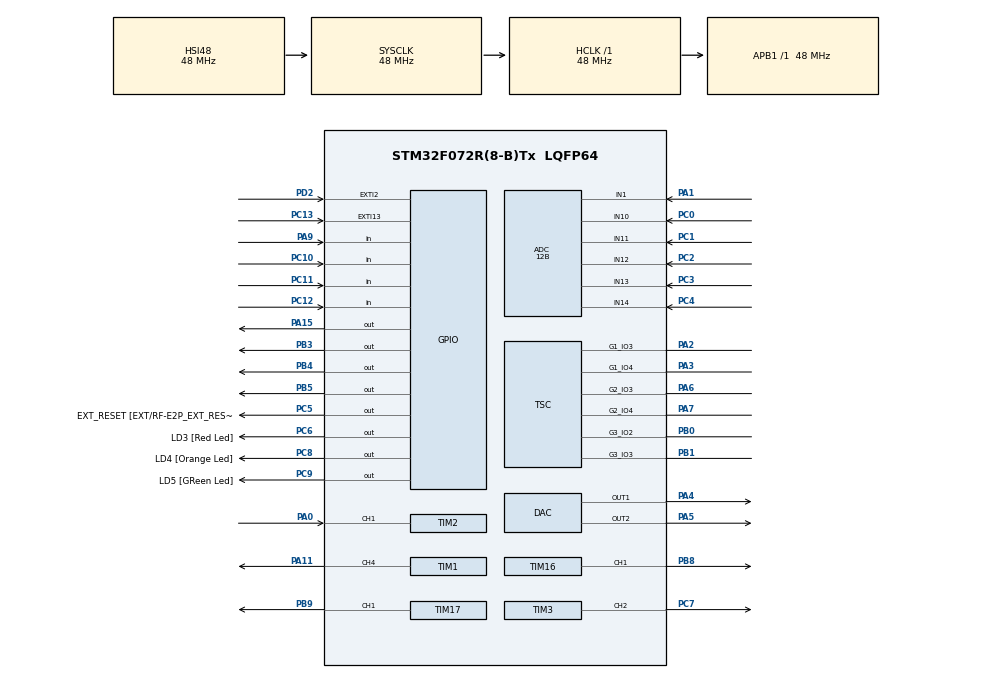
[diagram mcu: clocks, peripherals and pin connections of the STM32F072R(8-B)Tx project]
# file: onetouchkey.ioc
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ADC.ClockPrescaler=ADC_CLOCK_ASYNC_DIV1
ADC.ContinuousConvMode=ENABLE
ADC.DMAContinuousRequests=ENABLE
ADC.DataAlign=ADC_DATAALIGN_RIGHT
ADC.DiscontinuousConvMode=DISABLE
ADC.EOCSelection=ADC_EOC_SEQ_CONV
ADC.EnableAnalogWatchDog=false
ADC.ExternalTrigConv=ADC_SOFTWARE_START
ADC.ExternalTrigConvEdge=ADC_EXTERNALTRIGCONVEDGE_NONE
ADC.LowPowerAutoPowerOff=DISABLE
ADC.LowPowerAutoWait=DISABLE
ADC.Overrun=ADC_OVR_DATA_PRESERVED
ADC.Resolution=ADC_RESOLUTION_12B
ADC.SamplingTime=ADC_SAMPLETIME_71CYCLES_5
ADC.ScanConvMode=ADC_SCAN_DIRECTION_FORWARD
DAC.DAC_Trigger=DAC_TRIGGER_T6_TRGO
DAC.DAC_Trigger2=DAC_TRIGGER_T6_TRGO
Dma.ADC.2.Direction=DMA_PERIPH_TO_MEMORY
Dma.ADC.2.Instance=DMA1_Channel1
Dma.ADC.2.MemDataAlignment=DMA_MDATAALIGN_WORD
Dma.ADC.2.MemInc=DMA_MINC_ENABLE
Dma.ADC.2.Mode=DMA_CIRCULAR
Dma.ADC.2.PeriphDataAlignment=DMA_PDATAALIGN_WORD
Dma.ADC.2.PeriphInc=DMA_PINC_DISABLE
Dma.ADC.2.Priority=DMA_PRIORITY_MEDIUM
Dma.DAC_CH1.0.Direction=DMA_MEMORY_TO_PERIPH
Dma.DAC_CH1.0.Instance=DMA1_Channel3
Dma.DAC_CH1.0.MemDataAlignment=DMA_MDATAALIGN_HALFWORD
Dma.DAC_CH1.0.MemInc=DMA_MINC_ENABLE
Dma.DAC_CH1.0.Mode=DMA_CIRCULAR
Dma.DAC_CH1.0.PeriphDataAlignment=DMA_PDATAALIGN_HALFWORD
Dma.DAC_CH1.0.PeriphInc=DMA_PINC_DISABLE
Dma.DAC_CH1.0.Priority=DMA_PRIORITY_VERY_HIGH
Dma.DAC_CH2.1.Direction=DMA_MEMORY_TO_PERIPH
Dma.DAC_CH2.1.Instance=DMA1_Channel4
Dma.DAC_CH2.1.MemDataAlignment=DMA_MDATAALIGN_HALFWORD
Dma.DAC_CH2.1.MemInc=DMA_MINC_ENABLE
Dma.DAC_CH2.1.Mode=DMA_CIRCULAR
Dma.DAC_CH2.1.PeriphDataAlignment=DMA_PDATAALIGN_HALFWORD
Dma.DAC_CH2.1.PeriphInc=DMA_PINC_DISABLE
Dma.DAC_CH2.1.Priority=DMA_PRIORITY_VERY_HIGH
Dma.Request0=DAC_CH1
Dma.Request1=DAC_CH2
Dma.Request2=ADC
Mcu.Family=STM32F0
Mcu.Name=STM32F072R(8-B)Tx
Mcu.Package=LQFP64
NVIC.DMA1_Channel1_IRQn=true\:2\:0\:true\:false\:true
NVIC.DMA1_Channel2_3_IRQn=true\:0\:0\:true\:false\:true
NVIC.DMA1_Channel4_5_6_7_IRQn=true\:0\:0\:true\:false\:true
NVIC.EXTI2_3_IRQn=true\:0\:0\:false\:false\:true
NVIC.EXTI4_15_IRQn=true\:1\:0\:true\:false\:true
NVIC.TIM2_IRQn=true\:0\:0\:false\:false\:true
NVIC.TIM6_DAC_IRQn=true\:0\:0\:false\:false\:true
PA0.Signal=S_TIM2_CH1_ETR
PA1.Mode=IN1
PA1.Signal=ADC_IN1
PA11.Signal=S_TIM1_CH4
PA12.GPIO_Label=USBF4_DP
PA12.Signal=USB_DP
PA13.GPIO_Label=SWDIO
PA13.Signal=SYS_SWDIO
PA14.GPIO_Label=SWCLK
PA14.Signal=SYS_SWCLK
PA15.Signal=GPIO_Output
PA2.Mode=G1_IO3-Channel
PA2.Signal=TSC_G1_IO3
PA3.Mode=G1_IO4-Sampling
PA3.Signal=TSC_G1_IO4
PA4.Signal=COMP_DAC1_group
PA5.Signal=COMP_DAC2_group
PA6.Mode=G2_IO3-Channel
PA6.Signal=TSC_G2_IO3
PA7.Mode=G2_IO4-Sampling
PA7.Signal=TSC_G2_IO4
PA9.GPIO_PuPd=GPIO_PULLUP
PA9.Signal=GPIO_Input
PB0.Mode=G3_IO2-Channel
PB0.Signal=TSC_G3_IO2
PB1.Mode=G3_IO3-Sampling
PB1.Signal=TSC_G3_IO3
PB10.GPIO_Label=I2C2_SCL[EXT/RF-E2P_SCL]
PB10.Signal=I2C2_SCL
PB11.GPIO_Label=I2C2_SDA[EXT/RF-E2P_SDA]
PB11.Signal=I2C2_SDA
PB13.GPIO_Label=SPI2_SCK [L3GD20_SCL/SPC]
PB13.Signal=SPI2_SCK
PB14.GPIO_Label=SPI2_MISO [L3GD20_SDO]
PB14.Signal=SPI2_MISO
PB15.GPIO_Label=SPI2_MOSI [L3GD20_SDA/SDI]
PB15.Signal=SPI2_MOSI
PB3.Signal=GPIO_Output
PB4.Signal=GPIO_Output
PB5.Signal=GPIO_Output
PB8.Signal=S_TIM16_CH1
PB9.Signal=S_TIM17_CH1
PC0.Mode=IN10
PC0.Signal=ADC_IN10
PC1.Mode=IN11
PC1.Signal=ADC_IN11
PC10.GPIO_PuPd=GPIO_PULLUP
PC10.Signal=GPIO_Input
PC11.GPIO_PuPd=GPIO_PULLUP
PC11.Signal=GPIO_Input
PC12.GPIO_PuPd=GPIO_PULLUP
PC12.Signal=GPIO_Input
PC13.Signal=GPXTI13
PC2.Mode=IN12
PC2.Signal=ADC_IN12
PC3.Mode=IN13
PC3.Signal=ADC_IN13
PC4.Mode=IN14
PC4.Signal=ADC_IN14
PC5.GPIO_Label=EXT_RESET [EXT/RF-E2P_EXT_RESET]
PC5.Signal=GPIO_Output
PC6.GPIO_Label=LD3 [Red Led]
PC6.Signal=GPIO_Output
PC7.Signal=S_TIM3_CH2
PC8.GPIO_Label=LD4 [Orange Led]
PC8.Signal=GPIO_Output
PC9.GPIO_Label=LD5 [GReen Led]
PC9.Signal=GPIO_Output
PD2.GPIO_ModeDefaultEXTI=GPIO_MODE_IT_FALLING
PD2.Signal=GPXTI2
PF0-OSC_IN.Mode=HSE-External-Oscillator
PF0-OSC_IN.Signal=RCC_OSC_IN
PF1-OSC_OUT.Mode=HSE-External-Oscillator
PF1-OSC_OUT.Signal=RCC_OSC_OUT
ProjectManager.HeapSize=0x200
ProjectManager.StackSize=0x400
ProjectManager.TargetToolchain=SW4STM32
RCC.AHBFreq_Value=48000000
RCC.APB1Freq_Value=48000000
RCC.APB1TimFreq_Value=48000000
RCC.HCLKFreq_Value=48000000
RCC.HSE_VALUE=16000000
RCC.PLLMUL=RCC_PLL_MUL6
RCC.SYSCLKFreq_VALUE=48000000
RCC.SYSCLKSource=RCC_SYSCLKSOURCE_HSI48
SH.COMP_DAC1_group.0=DAC_OUT1,DAC_OUT1
SH.COMP_DAC2_group.0=DAC_OUT2,DAC_OUT2
SH.S_TIM16_CH1.0=TIM16_CH1,PWM Generation1 CH1
SH.S_TIM17_CH1.0=TIM17_CH1,PWM Generation1 CH1
SH.S_TIM1_CH4.0=TIM1_CH4,PWM Generation4 CH4
SH.S_TIM2_CH1_ETR.0=TIM2_CH1,Input_Capture1_from_TI1
SH.S_TIM3_CH2.0=TIM3_CH2,PWM Generation2 CH2
TIM1.Channel-PWM\ Generation4\ CH4=TIM_CHANNEL_4
TIM1.Period=4096
TIM1.Prescaler=10-1
TIM16.Channel=TIM_CHANNEL_1
TIM16.Period=4096
TIM16.Prescaler=1
TIM17.Channel=TIM_CHANNEL_1
TIM17.Period=4096
TIM17.Prescaler=10-1
TIM2.Channel-Input_Capture1_from_TI1=TIM_CHANNEL_1
TIM2.TIM_MasterOutputTrigger=TIM_TRGO_ENABLE
TIM3.Channel-PWM\ Generation2\ CH2=TIM_CHANNEL_2
TIM3.Period=4096
TIM3.Prescaler=10-1
TIM3.TIM_MasterOutputTrigger=TIM_TRGO_UPDATE
TIM6.AutoReloadPreload=TIM_AUTORELOAD_PRELOAD_ENABLE
TIM6.Period=2000
TIM6.Prescaler=1-1
TIM6.TIM_MasterOutputTrigger=TIM_TRGO_UPDATE
TIM7.Period=1000
TIM7.Prescaler=1-1
TSC.ChannelIOs-G1_IO3=TSC_GROUP1_IO3
TSC.ChannelIOs-G1_IO3-Channel=TSC_GROUP1_IO3
TSC.ChannelIOs-G2_IO3=TSC_GROUP2_IO3
TSC.ChannelIOs-G2_IO3-Channel=TSC_GROUP2_IO3
TSC.ChannelIOs-G3_IO2=TSC_GROUP3_IO2
TSC.ChannelIOs-G3_IO2-Channel=TSC_GROUP3_IO2
TSC.MaxCountValue=TSC_MCV_4095
TSC.SamplingIOs-G1_IO4=TSC_GROUP1_IO4
TSC.SamplingIOs-G1_IO4-Sampling=TSC_GROUP1_IO4
TSC.SamplingIOs-G2_IO4=TSC_GROUP2_IO4
TSC.SamplingIOs-G2_IO4-Sampling=TSC_GROUP2_IO4
TSC.SamplingIOs-G3_IO3=TSC_GROUP3_IO3
TSC.SamplingIOs-G3_IO3-Sampling=TSC_GROUP3_IO3
VP_TIM16_VS_ClockSourceINT.Mode=Enable_Timer
VP_TIM17_VS_ClockSourceINT.Mode=Enable_Timer
VP_TIM1_VS_ClockSourceINT.Mode=Internal
VP_TIM6_VS_ClockSourceINT.Mode=Enable_Timer
VP_TIM7_VS_ClockSourceINT.Mode=Enable_Timer
board=STM32F072B-DISCO

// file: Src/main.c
/**
  ******************************************************************************
  * File Name          : main.c
  * Description        : Main program body
  ******************************************************************************
  ** This notice applies to any and all portions of this file
  * that are not between comment pairs USER CODE BEGIN and
  * USER CODE END. Other portions of this file, whether
  * inserted by the user or by software development tools
  * are owned by their respective copyright owners.
  *
  * COPYRIGHT(c) 2017 STMicroelectronics
  *
  * Redistribution and use in source and binary forms, with or without modification,
  * are permitted provided that the following conditions are met:
  *   1. Redistributions of source code must retain the above copyright notice,
  *      this list of conditions and the following disclaimer.
  *   2. Redistributions in binary form must reproduce the above copyright notice,
  *      this list of conditions and the following disclaimer in the documentation
  *      and/or other materials provided with the distribution.
  *   3. Neither the name of STMicroelectronics nor the names of its contributors
  *      may be used to endorse or promote products derived from this software
  *      without specific prior written permission.
  *
  * THIS SOFTWARE IS PROVIDED BY THE COPYRIGHT HOLDERS AND CONTRIBUTORS "AS IS"
  * AND ANY EXPRESS OR IMPLIED WARRANTIES, INCLUDING, BUT NOT LIMITED TO, THE
  * IMPLIED WARRANTIES OF MERCHANTABILITY AND FITNESS FOR A PARTICULAR PURPOSE ARE
  * DISCLAIMED. IN NO EVENT SHALL THE COPYRIGHT HOLDER OR CONTRIBUTORS BE LIABLE
  * FOR ANY DIRECT, INDIRECT, INCIDENTAL, SPECIAL, EXEMPLARY, OR CONSEQUENTIAL
  * DAMAGES (INCLUDING, BUT NOT LIMITED TO, PROCUREMENT OF SUBSTITUTE GOODS OR
  * SERVICES; LOSS OF USE, DATA, OR PROFITS; OR BUSINESS INTERRUPTION) HOWEVER
  * CAUSED AND ON ANY THEORY OF LIABILITY, WHETHER IN CONTRACT, STRICT LIABILITY,
  * OR TORT (INCLUDING NEGLIGENCE OR OTHERWISE) ARISING IN ANY WAY OUT OF THE USE
  * OF THIS SOFTWARE, EVEN IF ADVISED OF THE POSSIBILITY OF SUCH DAMAGE.
  *
  ******************************************************************************
  */
#include "main.h"
#include "stm32f0xx_hal.h"

/* USER CODE BEGIN Includes */
#include "fixmath.h"
#include "fix16.h"
/* USER CODE END Includes */

ADC_HandleTypeDef hadc;
DMA_HandleTypeDef hdma_adc;

DAC_HandleTypeDef hdac;
DMA_HandleTypeDef hdma_dac_ch1;
DMA_HandleTypeDef hdma_dac_ch2;

TIM_HandleTypeDef htim1;
TIM_HandleTypeDef htim2;
TIM_HandleTypeDef htim3;
TIM_HandleTypeDef htim6;
TIM_HandleTypeDef htim7;
TIM_HandleTypeDef htim16;
TIM_HandleTypeDef htim17;

TSC_HandleTypeDef htsc;

/* USER CODE BEGIN PV */
/* Private variables ---------------------------------------------------------*/
__IO uint32_t uhTSCAcquisitionValue1;
__IO uint32_t uhTSCAcquisitionValue2;
__IO uint32_t uhTSCAcquisitionValue3;
int not1;
int not2;
int not3;
int modeflag;
int modechanged;
int pindownlastcycle;
int temp1 = 0;
int temp2 = 0;
int temp3 = 0;
int temp4 = 0;
extern uint16_t dacbuffer1[1];
extern uint16_t dacbuffer2[1];
extern uint8_t speed;
extern uint8_t loop;
extern uint8_t trigmode;
extern uint8_t samphold;
extern uint8_t family;
int trig;
uint8_t lastattackflag;
uint8_t lastreleaseflag;
uint8_t intoattackfroml;
uint8_t intoreleasefroml;
uint8_t intoattackfromr;
uint8_t intoreleasefromr;
uint8_t pintimer;
uint16_t decimatecounter;
int benchmark;
int lastcount;
fix16_t out;
extern uint32_t ADCReadings[3];

/* USER CODE END PV */

void SystemClock_Config(void);
static void MX_GPIO_Init(void);
static void MX_DMA_Init(void);
static void MX_TSC_Init(void);
static void MX_DAC_Init(void);
static void MX_TIM1_Init(void);
static void MX_TIM2_Init(void);
static void MX_TIM3_Init(void);
static void MX_ADC_Init(void);
static void MX_TIM16_Init(void);
static void MX_TIM6_Init(void);
static void MX_TIM7_Init(void);
static void MX_TIM17_Init(void);

void HAL_TIM_MspPostInit(TIM_HandleTypeDef *htim);

/* USER CODE BEGIN PFP */
/* Private function prototypes -----------------------------------------------*/
void ProcessSensors(void);
void SetFlags(void);
void ReadPins(uint8_t);
void ChangeMode(int);
void ShowMode(uint8_t);
void ClearDisplay(void);
void ClearRGB(void);
void ClearLEDs(void);
/* USER CODE END PFP */

int main(void)
{

  /* MCU Configuration----------------------------------------------------------*/

  /* Reset of all peripherals, Initializes the Flash interface and the Systick. */
  HAL_Init();

  /* Configure the system clock */
  SystemClock_Config();

  /* Initialize all configured peripherals */
  MX_GPIO_Init();
  MX_DMA_Init();
  MX_TSC_Init();
  MX_DAC_Init();
  MX_TIM1_Init();
  MX_TIM2_Init();
  MX_TIM3_Init();
  MX_ADC_Init();
  MX_TIM16_Init();
  MX_TIM6_Init();
  MX_TIM7_Init();
  MX_TIM17_Init();

  /* USER CODE BEGIN 2 */
  HAL_ADC_Start_DMA(&hadc, ADCReadings, 6);
  HAL_TIM_IC_Start_IT(&htim2, TIM_CHANNEL_1);
  HAL_TIM_Base_Start_IT(&htim6);
  HAL_TIM_PWM_Start(&htim3, TIM_CHANNEL_2);
  HAL_TIM_PWM_Start(&htim17, TIM_CHANNEL_1);
  HAL_TIM_PWM_Start(&htim16, TIM_CHANNEL_1);
  HAL_DAC_Start(&hdac, DAC_CHANNEL_1);
  HAL_DAC_Start(&hdac, DAC_CHANNEL_2);
  HAL_DAC_Start_DMA(&hdac, DAC_CHANNEL_1, (uint32_t*)dacbuffer1, 1, DAC_ALIGN_12B_R);
  HAL_DAC_Start_DMA(&hdac, DAC_CHANNEL_2, (uint32_t*)dacbuffer2, 1, DAC_ALIGN_12B_R);

  /* USER CODE END 2 */

  /* Infinite loop */
  /* USER CODE BEGIN WHILE */
  while (1)
    {
	 pintimer = (pintimer + 1) % 4;
	 ReadPins(pintimer);
	 if (pindownlastcycle > modechanged) {ChangeMode(modeflag);}
	 if (pindownlastcycle > modechanged) {
			 if (modeflag == 1) {
				 for (int i = 0; i < 10000; i++) {ShowMode(speed);}
				 ClearLEDs();
			 }
			 else if (modeflag == 2) {
				 for (int i = 0; i < 10000; i++) {ShowMode(trigmode);}
				 ClearLEDs();}
			 else if (modeflag == 3) {
				 for (int i = 0; i < 10000; i++) {ShowMode(loop);}
				 ClearLEDs();}
			 else if (modeflag == 4) {
				 for (int i = 0; i < 10000; i++) {ShowMode(samphold);}
				 ClearLEDs();}
	}

	 if (lastattackflag > 0 && modechanged == 0) {
		 __HAL_TIM_SET_COMPARE(&htim3, TIM_CHANNEL_2, out);
		 __HAL_TIM_SET_COMPARE(&htim17, TIM_CHANNEL_1, 0);} //sets the PWM duty cycle (Capture Compare Value)
	 if (lastreleaseflag > 0 && modechanged == 0) {
		 __HAL_TIM_SET_COMPARE(&htim17, TIM_CHANNEL_1, out);
		 __HAL_TIM_SET_COMPARE(&htim3, TIM_CHANNEL_2, 0);
	 } //sets the PWM duty cycle (Capture Compare Value)
	 if (modechanged == 0) {__HAL_TIM_SET_COMPARE(&htim16, TIM_CHANNEL_1, ADCReadings[5]);} //sets the PWM duty cycle (Capture Compare Value)

	 //ProcessSensors(); /*Initiates acquisition, sets uhTSCAcquisitionValue1, uhTSCAcquisitionValue2, and
    	//				uhTSCAcquisitionValue3 if acquisition successful*/
	 //SetFlags(); /*Sets flag1, flag2, or flag3 per the unique value combos indicating a touch in the corresponding
     //	 	 	 zone*/
     //

  /* USER CODE END WHILE */

    }

}

/** System Clock Configuration
*/
void SystemClock_Config(void)
{

  RCC_OscInitTypeDef RCC_OscInitStruct;
  RCC_ClkInitTypeDef RCC_ClkInitStruct;

    /**Initializes the CPU, AHB and APB busses clocks
    */
  RCC_OscInitStruct.OscillatorType = RCC_OSCILLATORTYPE_HSI14|RCC_OSCILLATORTYPE_HSI48;
  RCC_OscInitStruct.HSI48State = RCC_HSI48_ON;
  RCC_OscInitStruct.HSI14State = RCC_HSI14_ON;
  RCC_OscInitStruct.HSI14CalibrationValue = 16;
  RCC_OscInitStruct.PLL.PLLState = RCC_PLL_NONE;
  if (HAL_RCC_OscConfig(&RCC_OscInitStruct) != HAL_OK)
  {
    _Error_Handler(__FILE__, __LINE__);
  }

    /**Initializes the CPU, AHB and APB busses clocks
    */
  RCC_ClkInitStruct.ClockType = RCC_CLOCKTYPE_HCLK|RCC_CLOCKTYPE_SYSCLK
                              |RCC_CLOCKTYPE_PCLK1;
  RCC_ClkInitStruct.SYSCLKSource = RCC_SYSCLKSOURCE_HSI48;
  RCC_ClkInitStruct.AHBCLKDivider = RCC_SYSCLK_DIV1;
  RCC_ClkInitStruct.APB1CLKDivider = RCC_HCLK_DIV1;

  if (HAL_RCC_ClockConfig(&RCC_ClkInitStruct, FLASH_LATENCY_1) != HAL_OK)
  {
    _Error_Handler(__FILE__, __LINE__);
  }

    /**Configure the Systick interrupt time
    */
  HAL_SYSTICK_Config(HAL_RCC_GetHCLKFreq()/1000);

    /**Configure the Systick
    */
  HAL_SYSTICK_CLKSourceConfig(SYSTICK_CLKSOURCE_HCLK);

  /* SysTick_IRQn interrupt configuration */
  HAL_NVIC_SetPriority(SysTick_IRQn, 0, 0);
}

/* ADC init function */
static void MX_ADC_Init(void)
{

  ADC_ChannelConfTypeDef sConfig;

    /**Configure the global features of the ADC (Clock, Resolution, Data Alignment and number of conversion)
    */
  hadc.Instance = ADC1;
  hadc.Init.ClockPrescaler = ADC_CLOCK_ASYNC_DIV1;
  hadc.Init.Resolution = ADC_RESOLUTION_12B;
  hadc.Init.DataAlign = ADC_DATAALIGN_RIGHT;
  hadc.Init.ScanConvMode = ADC_SCAN_DIRECTION_FORWARD;
  hadc.Init.EOCSelection = ADC_EOC_SEQ_CONV;
  hadc.Init.LowPowerAutoWait = DISABLE;
  hadc.Init.LowPowerAutoPowerOff = DISABLE;
  hadc.Init.ContinuousConvMode = ENABLE;
  hadc.Init.DiscontinuousConvMode = DISABLE;
  hadc.Init.ExternalTrigConv = ADC_SOFTWARE_START;
  hadc.Init.ExternalTrigConvEdge = ADC_EXTERNALTRIGCONVEDGE_NONE;
  hadc.Init.DMAContinuousRequests = ENABLE;
  hadc.Init.Overrun = ADC_OVR_DATA_PRESERVED;
  if (HAL_ADC_Init(&hadc) != HAL_OK)
  {
    _Error_Handler(__FILE__, __LINE__);
  }

    /**Configure for the selected ADC regular channel to be converted.
    */
  sConfig.Channel = ADC_CHANNEL_1;
  sConfig.Rank = ADC_RANK_CHANNEL_NUMBER;
  sConfig.SamplingTime = ADC_SAMPLETIME_71CYCLES_5;
  if (HAL_ADC_ConfigChannel(&hadc, &sConfig) != HAL_OK)
  {
    _Error_Handler(__FILE__, __LINE__);
  }

    /**Configure for the selected ADC regular channel to be converted.
    */
  sConfig.Channel = ADC_CHANNEL_10;
  if (HAL_ADC_ConfigChannel(&hadc, &sConfig) != HAL_OK)
  {
    _Error_Handler(__FILE__, __LINE__);
  }

    /**Configure for the selected ADC regular channel to be converted.
    */
  sConfig.Channel = ADC_CHANNEL_11;
  if (HAL_ADC_ConfigChannel(&hadc, &sConfig) != HAL_OK)
  {
    _Error_Handler(__FILE__, __LINE__);
  }

    /**Configure for the selected ADC regular channel to be converted.
    */
  sConfig.Channel = ADC_CHANNEL_12;
  if (HAL_ADC_ConfigChannel(&hadc, &sConfig) != HAL_OK)
  {
    _Error_Handler(__FILE__, __LINE__);
  }

    /**Configure for the selected ADC regular channel to be converted.
    */
  sConfig.Channel = ADC_CHANNEL_13;
  if (HAL_ADC_ConfigChannel(&hadc, &sConfig) != HAL_OK)
  {
    _Error_Handler(__FILE__, __LINE__);
  }

    /**Configure for the selected ADC regular channel to be converted.
    */
  sConfig.Channel = ADC_CHANNEL_14;
  if (HAL_ADC_ConfigChannel(&hadc, &sConfig) != HAL_OK)
  {
    _Error_Handler(__FILE__, __LINE__);
  }

}

/* DAC init function */
static void MX_DAC_Init(void)
{

  DAC_ChannelConfTypeDef sConfig;

    /**DAC Initialization
    */
  hdac.Instance = DAC;
  if (HAL_DAC_Init(&hdac) != HAL_OK)
  {
    _Error_Handler(__FILE__, __LINE__);
  }

    /**DAC channel OUT1 config
    */
  sConfig.DAC_Trigger = DAC_TRIGGER_T6_TRGO;
  sConfig.DAC_OutputBuffer = DAC_OUTPUTBUFFER_ENABLE;
  if (HAL_DAC_ConfigChannel(&hdac, &sConfig, DAC_CHANNEL_1) != HAL_OK)
  {
    _Error_Handler(__FILE__, __LINE__);
  }

    /**DAC channel OUT2 config
    */
  if (HAL_DAC_ConfigChannel(&hdac, &sConfig, DAC_CHANNEL_2) != HAL_OK)
  {
    _Error_Handler(__FILE__, __LINE__);
  }

}

/* TIM1 init function */
static void MX_TIM1_Init(void)
{

  TIM_ClockConfigTypeDef sClockSourceConfig;
  TIM_MasterConfigTypeDef sMasterConfig;
  TIM_OC_InitTypeDef sConfigOC;
  TIM_BreakDeadTimeConfigTypeDef sBreakDeadTimeConfig;

  htim1.Instance = TIM1;
  htim1.Init.Prescaler = 10-1;
  htim1.Init.CounterMode = TIM_COUNTERMODE_UP;
  htim1.Init.Period = 4096;
  htim1.Init.ClockDivision = TIM_CLOCKDIVISION_DIV1;
  htim1.Init.RepetitionCounter = 0;
  htim1.Init.AutoReloadPreload = TIM_AUTORELOAD_PRELOAD_DISABLE;
  if (HAL_TIM_Base_Init(&htim1) != HAL_OK)
  {
    _Error_Handler(__FILE__, __LINE__);
  }

  sClockSourceConfig.ClockSource = TIM_CLOCKSOURCE_INTERNAL;
  if (HAL_TIM_ConfigClockSource(&htim1, &sClockSourceConfig) != HAL_OK)
  {
    _Error_Handler(__FILE__, __LINE__);
  }

  if (HAL_TIM_PWM_Init(&htim1) != HAL_OK)
  {
    _Error_Handler(__FILE__, __LINE__);
  }

  sMasterConfig.MasterOutputTrigger = TIM_TRGO_RESET;
  sMasterConfig.MasterSlaveMode = TIM_MASTERSLAVEMODE_DISABLE;
  if (HAL_TIMEx_MasterConfigSynchronization(&htim1, &sMasterConfig) != HAL_OK)
  {
    _Error_Handler(__FILE__, __LINE__);
  }

  sConfigOC.OCMode = TIM_OCMODE_PWM1;
  sConfigOC.Pulse = 0;
  sConfigOC.OCPolarity = TIM_OCPOLARITY_HIGH;
  sConfigOC.OCFastMode = TIM_OCFAST_DISABLE;
  sConfigOC.OCIdleState = TIM_OCIDLESTATE_RESET;
  sConfigOC.OCNIdleState = TIM_OCNIDLESTATE_RESET;
  if (HAL_TIM_PWM_ConfigChannel(&htim1, &sConfigOC, TIM_CHANNEL_4) != HAL_OK)
  {
    _Error_Handler(__FILE__, __LINE__);
  }

  sBreakDeadTimeConfig.OffStateRunMode = TIM_OSSR_DISABLE;
  sBreakDeadTimeConfig.OffStateIDLEMode = TIM_OSSI_DISABLE;
  sBreakDeadTimeConfig.LockLevel = TIM_LOCKLEVEL_OFF;
  sBreakDeadTimeConfig.DeadTime = 0;
  sBreakDeadTimeConfig.BreakState = TIM_BREAK_DISABLE;
  sBreakDeadTimeConfig.BreakPolarity = TIM_BREAKPOLARITY_HIGH;
  sBreakDeadTimeConfig.AutomaticOutput = TIM_AUTOMATICOUTPUT_DISABLE;
  if (HAL_TIMEx_ConfigBreakDeadTime(&htim1, &sBreakDeadTimeConfig) != HAL_OK)
  {
    _Error_Handler(__FILE__, __LINE__);
  }

  HAL_TIM_MspPostInit(&htim1);

}

/* TIM2 init function */
static void MX_TIM2_Init(void)
{

  TIM_MasterConfigTypeDef sMasterConfig;
  TIM_IC_InitTypeDef sConfigIC;

  htim2.Instance = TIM2;
  htim2.Init.Prescaler = 0;
  htim2.Init.CounterMode = TIM_COUNTERMODE_UP;
  htim2.Init.Period = 0;
  htim2.Init.ClockDivision = TIM_CLOCKDIVISION_DIV1;
  htim2.Init.AutoReloadPreload = TIM_AUTORELOAD_PRELOAD_DISABLE;
  if (HAL_TIM_IC_Init(&htim2) != HAL_OK)
  {
    _Error_Handler(__FILE__, __LINE__);
  }

  sMasterConfig.MasterOutputTrigger = TIM_TRGO_ENABLE;
  sMasterConfig.MasterSlaveMode = TIM_MASTERSLAVEMODE_DISABLE;
  if (HAL_TIMEx_MasterConfigSynchronization(&htim2, &sMasterConfig) != HAL_OK)
  {
    _Error_Handler(__FILE__, __LINE__);
  }

  sConfigIC.ICPolarity = TIM_INPUTCHANNELPOLARITY_RISING;
  sConfigIC.ICSelection = TIM_ICSELECTION_DIRECTTI;
  sConfigIC.ICPrescaler = TIM_ICPSC_DIV1;
  sConfigIC.ICFilter = 0;
  if (HAL_TIM_IC_ConfigChannel(&htim2, &sConfigIC, TIM_CHANNEL_1) != HAL_OK)
  {
    _Error_Handler(__FILE__, __LINE__);
  }

}

/* TIM3 init function */
static void MX_TIM3_Init(void)
{

  TIM_MasterConfigTypeDef sMasterConfig;
  TIM_OC_InitTypeDef sConfigOC;

  htim3.Instance = TIM3;
  htim3.Init.Prescaler = 10-1;
  htim3.Init.CounterMode = TIM_COUNTERMODE_UP;
  htim3.Init.Period = 4096;
  htim3.Init.ClockDivision = TIM_CLOCKDIVISION_DIV1;
  htim3.Init.AutoReloadPreload = TIM_AUTORELOAD_PRELOAD_DISABLE;
  if (HAL_TIM_PWM_Init(&htim3) != HAL_OK)
  {
    _Error_Handler(__FILE__, __LINE__);
  }

  sMasterConfig.MasterOutputTrigger = TIM_TRGO_UPDATE;
  sMasterConfig.MasterSlaveMode = TIM_MASTERSLAVEMODE_DISABLE;
  if (HAL_TIMEx_MasterConfigSynchronization(&htim3, &sMasterConfig) != HAL_OK)
  {
    _Error_Handler(__FILE__, __LINE__);
  }

  sConfigOC.OCMode = TIM_OCMODE_PWM1;
  sConfigOC.Pulse = 0;
  sConfigOC.OCPolarity = TIM_OCPOLARITY_HIGH;
  sConfigOC.OCFastMode = TIM_OCFAST_DISABLE;
  if (HAL_TIM_PWM_ConfigChannel(&htim3, &sConfigOC, TIM_CHANNEL_2) != HAL_OK)
  {
    _Error_Handler(__FILE__, __LINE__);
  }

  HAL_TIM_MspPostInit(&htim3);

}

/* TIM6 init function */
static void MX_TIM6_Init(void)
{

  TIM_MasterConfigTypeDef sMasterConfig;

  htim6.Instance = TIM6;
  htim6.Init.Prescaler = 1-1;
  htim6.Init.CounterMode = TIM_COUNTERMODE_UP;
  htim6.Init.Period = 2000;
  htim6.Init.AutoReloadPreload = TIM_AUTORELOAD_PRELOAD_ENABLE;
  if (HAL_TIM_Base_Init(&htim6) != HAL_OK)
  {
    _Error_Handler(__FILE__, __LINE__);
  }

  sMasterConfig.MasterOutputTrigger = TIM_TRGO_UPDATE;
  sMasterConfig.MasterSlaveMode = TIM_MASTERSLAVEMODE_DISABLE;
  if (HAL_TIMEx_MasterConfigSynchronization(&htim6, &sMasterConfig) != HAL_OK)
  {
    _Error_Handler(__FILE__, __LINE__);
  }

}

/* TIM7 init function */
static void MX_TIM7_Init(void)
{

  TIM_MasterConfigTypeDef sMasterConfig;

  htim7.Instance = TIM7;
  htim7.Init.Prescaler = 1-1;
  htim7.Init.CounterMode = TIM_COUNTERMODE_UP;
  htim7.Init.Period = 1000;
  htim7.Init.AutoReloadPreload = TIM_AUTORELOAD_PRELOAD_DISABLE;
  if (HAL_TIM_Base_Init(&htim7) != HAL_OK)
  {
    _Error_Handler(__FILE__, __LINE__);
  }

  sMasterConfig.MasterOutputTrigger = TIM_TRGO_RESET;
  sMasterConfig.MasterSlaveMode = TIM_MASTERSLAVEMODE_DISABLE;
  if (HAL_TIMEx_MasterConfigSynchronization(&htim7, &sMasterConfig) != HAL_OK)
  {
    _Error_Handler(__FILE__, __LINE__);
  }

}

/* TIM16 init function */
static void MX_TIM16_Init(void)
{

  TIM_OC_InitTypeDef sConfigOC;
  TIM_BreakDeadTimeConfigTypeDef sBreakDeadTimeConfig;

  htim16.Instance = TIM16;
  htim16.Init.Prescaler = 1;
  htim16.Init.CounterMode = TIM_COUNTERMODE_UP;
  htim16.Init.Period = 4096;
  htim16.Init.ClockDivision = TIM_CLOCKDIVISION_DIV1;
  htim16.Init.RepetitionCounter = 0;
  htim16.Init.AutoReloadPreload = TIM_AUTORELOAD_PRELOAD_DISABLE;
  if (HAL_TIM_Base_Init(&htim16) != HAL_OK)
  {
    _Error_Handler(__FILE__, __LINE__);
  }

  if (HAL_TIM_PWM_Init(&htim16) != HAL_OK)
  {
    _Error_Handler(__FILE__, __LINE__);
  }

  sConfigOC.OCMode = TIM_OCMODE_PWM1;
  sConfigOC.Pulse = 0;
  sConfigOC.OCPolarity = TIM_OCPOLARITY_HIGH;
  sConfigOC.OCNPolarity = TIM_OCNPOLARITY_HIGH;
  sConfigOC.OCFastMode = TIM_OCFAST_DISABLE;
  sConfigOC.OCIdleState = TIM_OCIDLESTATE_RESET;
  sConfigOC.OCNIdleState = TIM_OCNIDLESTATE_RESET;
  if (HAL_TIM_PWM_ConfigChannel(&htim16, &sConfigOC, TIM_CHANNEL_1) != HAL_OK)
  {
    _Error_Handler(__FILE__, __LINE__);
  }

  sBreakDeadTimeConfig.OffStateRunMode = TIM_OSSR_DISABLE;
  sBreakDeadTimeConfig.OffStateIDLEMode = TIM_OSSI_DISABLE;
  sBreakDeadTimeConfig.LockLevel = TIM_LOCKLEVEL_OFF;
  sBreakDeadTimeConfig.DeadTime = 0;
  sBreakDeadTimeConfig.BreakState = TIM_BREAK_DISABLE;
  sBreakDeadTimeConfig.BreakPolarity = TIM_BREAKPOLARITY_HIGH;
  sBreakDeadTimeConfig.AutomaticOutput = TIM_AUTOMATICOUTPUT_DISABLE;
  if (HAL_TIMEx_ConfigBreakDeadTime(&htim16, &sBreakDeadTimeConfig) != HAL_OK)
  {
    _Error_Handler(__FILE__, __LINE__);
  }

  HAL_TIM_MspPostInit(&htim16);

}

/* TIM17 init function */
static void MX_TIM17_Init(void)
{

  TIM_OC_InitTypeDef sConfigOC;
  TIM_BreakDeadTimeConfigTypeDef sBreakDeadTimeConfig;

  htim17.Instance = TIM17;
  htim17.Init.Prescaler = 10-1;
  htim17.Init.CounterMode = TIM_COUNTERMODE_UP;
  htim17.Init.Period = 4096;
  htim17.Init.ClockDivision = TIM_CLOCKDIVISION_DIV1;
  htim17.Init.RepetitionCounter = 0;
  htim17.Init.AutoReloadPreload = TIM_AUTORELOAD_PRELOAD_DISABLE;
  if (HAL_TIM_Base_Init(&htim17) != HAL_OK)
  {
    _Error_Handler(__FILE__, __LINE__);
  }

  if (HAL_TIM_PWM_Init(&htim17) != HAL_OK)
  {
    _Error_Handler(__FILE__, __LINE__);
  }

  sConfigOC.OCMode = TIM_OCMODE_PWM1;
  sConfigOC.Pulse = 0;
  sConfigOC.OCPolarity = TIM_OCPOLARITY_HIGH;
  sConfigOC.OCNPolarity = TIM_OCNPOLARITY_HIGH;
  sConfigOC.OCFastMode = TIM_OCFAST_DISABLE;
  sConfigOC.OCIdleState = TIM_OCIDLESTATE_RESET;
  sConfigOC.OCNIdleState = TIM_OCNIDLESTATE_RESET;
  if (HAL_TIM_PWM_ConfigChannel(&htim17, &sConfigOC, TIM_CHANNEL_1) != HAL_OK)
  {
    _Error_Handler(__FILE__, __LINE__);
  }

  sBreakDeadTimeConfig.OffStateRunMode = TIM_OSSR_DISABLE;
  sBreakDeadTimeConfig.OffStateIDLEMode = TIM_OSSI_DISABLE;
  sBreakDeadTimeConfig.LockLevel = TIM_LOCKLEVEL_OFF;
  sBreakDeadTimeConfig.DeadTime = 0;
  sBreakDeadTimeConfig.BreakState = TIM_BREAK_DISABLE;
  sBreakDeadTimeConfig.BreakPolarity = TIM_BREAKPOLARITY_HIGH;
  sBreakDeadTimeConfig.AutomaticOutput = TIM_AUTOMATICOUTPUT_DISABLE;
  if (HAL_TIMEx_ConfigBreakDeadTime(&htim17, &sBreakDeadTimeConfig) != HAL_OK)
  {
    _Error_Handler(__FILE__, __LINE__);
  }

  HAL_TIM_MspPostInit(&htim17);

}

/* TSC init function */
static void MX_TSC_Init(void)
{

    /**Configure the TSC peripheral
    */
  htsc.Instance = TSC;
  htsc.Init.CTPulseHighLength = TSC_CTPH_2CYCLES;
  htsc.Init.CTPulseLowLength = TSC_CTPL_2CYCLES;
  htsc.Init.SpreadSpectrum = DISABLE;
  htsc.Init.SpreadSpectrumDeviation = 1;
  htsc.Init.SpreadSpectrumPrescaler = TSC_SS_PRESC_DIV1;
  htsc.Init.PulseGeneratorPrescaler = TSC_PG_PRESC_DIV64;
  htsc.Init.MaxCountValue = TSC_MCV_4095;
  htsc.Init.IODefaultMode = TSC_IODEF_OUT_PP_LOW;
  htsc.Init.SynchroPinPolarity = TSC_SYNC_POLARITY_FALLING;
  htsc.Init.AcquisitionMode = TSC_ACQ_MODE_NORMAL;
  htsc.Init.MaxCountInterrupt = DISABLE;
  htsc.Init.ChannelIOs = TSC_GROUP1_IO3|TSC_GROUP2_IO3|TSC_GROUP3_IO2;
  htsc.Init.SamplingIOs = TSC_GROUP1_IO4|TSC_GROUP2_IO4|TSC_GROUP3_IO3;
  if (HAL_TSC_Init(&htsc) != HAL_OK)
  {
    _Error_Handler(__FILE__, __LINE__);
  }

}

static void MX_DMA_Init(void)
{
  /* DMA controller clock enable */
  __HAL_RCC_DMA1_CLK_ENABLE();

  /* DMA interrupt init */
  /* DMA1_Channel1_IRQn interrupt configuration */
  HAL_NVIC_SetPriority(DMA1_Channel1_IRQn, 2, 0);
  HAL_NVIC_EnableIRQ(DMA1_Channel1_IRQn);
  /* DMA1_Channel2_3_IRQn interrupt configuration */
  HAL_NVIC_SetPriority(DMA1_Channel2_3_IRQn, 0, 0);
  HAL_NVIC_EnableIRQ(DMA1_Channel2_3_IRQn);
  /* DMA1_Channel4_5_6_7_IRQn interrupt configuration */
  HAL_NVIC_SetPriority(DMA1_Channel4_5_6_7_IRQn, 0, 0);
  HAL_NVIC_EnableIRQ(DMA1_Channel4_5_6_7_IRQn);

}

/** Configure pins as
        * Analog
        * Input
        * Output
        * EVENT_OUT
        * EXTI
     PB10   ------> I2C2_SCL
     PB11   ------> I2C2_SDA
     PB13   ------> SPI2_SCK
     PB14   ------> SPI2_MISO
     PB15   ------> SPI2_MOSI
*/
static void MX_GPIO_Init(void)
{

  GPIO_InitTypeDef GPIO_InitStruct;

  /* GPIO Ports Clock Enable */
  __HAL_RCC_GPIOC_CLK_ENABLE();
  __HAL_RCC_GPIOF_CLK_ENABLE();
  __HAL_RCC_GPIOA_CLK_ENABLE();
  __HAL_RCC_GPIOB_CLK_ENABLE();
  __HAL_RCC_GPIOD_CLK_ENABLE();

  /*Configure GPIO pin Output Level */
  HAL_GPIO_WritePin(GPIOC, EXT_RESET_Pin|LD3_Pin|LD4_Pin|LD5_Pin, GPIO_PIN_RESET);

  /*Configure GPIO pin Output Level */
  HAL_GPIO_WritePin(GPIOA, GPIO_PIN_15, GPIO_PIN_RESET);

  /*Configure GPIO pin Output Level */
  HAL_GPIO_WritePin(GPIOB, GPIO_PIN_3|GPIO_PIN_4|GPIO_PIN_5, GPIO_PIN_RESET);

  /*Configure GPIO pin : PC13 */
  GPIO_InitStruct.Pin = GPIO_PIN_13;
  GPIO_InitStruct.Mode = GPIO_MODE_IT_RISING;
  GPIO_InitStruct.Pull = GPIO_NOPULL;
  HAL_GPIO_Init(GPIOC, &GPIO_InitStruct);

  /*Configure GPIO pins : EXT_RESET_Pin LD3_Pin LD4_Pin LD5_Pin */
  GPIO_InitStruct.Pin = EXT_RESET_Pin|LD3_Pin|LD4_Pin|LD5_Pin;
  GPIO_InitStruct.Mode = GPIO_MODE_OUTPUT_PP;
  GPIO_InitStruct.Pull = GPIO_NOPULL;
  GPIO_InitStruct.Speed = GPIO_SPEED_FREQ_LOW;
  HAL_GPIO_Init(GPIOC, &GPIO_InitStruct);

  /*Configure GPIO pins : I2C2_SCL_Pin I2C2_SDA_Pin */
  GPIO_InitStruct.Pin = I2C2_SCL_Pin|I2C2_SDA_Pin;
  GPIO_InitStruct.Mode = GPIO_MODE_AF_OD;
  GPIO_InitStruct.Pull = GPIO_PULLUP;
  GPIO_InitStruct.Speed = GPIO_SPEED_FREQ_HIGH;
  GPIO_InitStruct.Alternate = GPIO_AF1_I2C2;
  HAL_GPIO_Init(GPIOB, &GPIO_InitStruct);

  /*Configure GPIO pins : SPI2_SCK_Pin SPI2_MISO_Pin SPI2_MOSI_Pin */
  GPIO_InitStruct.Pin = SPI2_SCK_Pin|SPI2_MISO_Pin|SPI2_MOSI_Pin;
  GPIO_InitStruct.Mode = GPIO_MODE_AF_PP;
  GPIO_InitStruct.Pull = GPIO_NOPULL;
  GPIO_InitStruct.Speed = GPIO_SPEED_FREQ_HIGH;
  GPIO_InitStruct.Alternate = GPIO_AF0_SPI2;
  HAL_GPIO_Init(GPIOB, &GPIO_InitStruct);

  /*Configure GPIO pin : PA9 */
  GPIO_InitStruct.Pin = GPIO_PIN_9;
  GPIO_InitStruct.Mode = GPIO_MODE_INPUT;
  GPIO_InitStruct.Pull = GPIO_PULLUP;
  HAL_GPIO_Init(GPIOA, &GPIO_InitStruct);

  /*Configure GPIO pin : PA15 */
  GPIO_InitStruct.Pin = GPIO_PIN_15;
  GPIO_InitStruct.Mode = GPIO_MODE_OUTPUT_PP;
  GPIO_InitStruct.Pull = GPIO_NOPULL;
  GPIO_InitStruct.Speed = GPIO_SPEED_FREQ_LOW;
  HAL_GPIO_Init(GPIOA, &GPIO_InitStruct);

  /*Configure GPIO pins : PC10 PC11 PC12 */
  GPIO_InitStruct.Pin = GPIO_PIN_10|GPIO_PIN_11|GPIO_PIN_12;
  GPIO_InitStruct.Mode = GPIO_MODE_INPUT;
  GPIO_InitStruct.Pull = GPIO_PULLUP;
  HAL_GPIO_Init(GPIOC, &GPIO_InitStruct);

  /*Configure GPIO pin : PD2 */
  GPIO_InitStruct.Pin = GPIO_PIN_2;
  GPIO_InitStruct.Mode = GPIO_MODE_IT_FALLING;
  GPIO_InitStruct.Pull = GPIO_NOPULL;
  HAL_GPIO_Init(GPIOD, &GPIO_InitStruct);

  /*Configure GPIO pins : PB3 PB4 PB5 */
  GPIO_InitStruct.Pin = GPIO_PIN_3|GPIO_PIN_4|GPIO_PIN_5;
  GPIO_InitStruct.Mode = GPIO_MODE_OUTPUT_PP;
  GPIO_InitStruct.Pull = GPIO_NOPULL;
  GPIO_InitStruct.Speed = GPIO_SPEED_FREQ_LOW;
  HAL_GPIO_Init(GPIOB, &GPIO_InitStruct);

  /* EXTI interrupt init*/
  HAL_NVIC_SetPriority(EXTI2_3_IRQn, 0, 0);
  HAL_NVIC_EnableIRQ(EXTI2_3_IRQn);

  HAL_NVIC_SetPriority(EXTI4_15_IRQn, 1, 0);
  HAL_NVIC_EnableIRQ(EXTI4_15_IRQn);

}

/* USER CODE BEGIN 4 */

void ProcessSensors(void){
	HAL_TSC_IODischarge(&htsc, ENABLE);
    HAL_Delay(1); /* 1 ms is more than enough to discharge all capacitors */

    /*##-3- Start the acquisition process ####################################*/
    if (HAL_TSC_Start(&htsc) != HAL_OK)
    {
      /* Acquisition Error */
      Error_Handler();
    }

    /*##-4- Wait for the end of acquisition ##################################*/
    /*  Before starting a new acquisition, you need to check the current state of
         the peripheral; if it�s busy you need to wait for the end of current
         acquisition before starting a new one. */
    while (HAL_TSC_GetState(&htsc) == HAL_TSC_STATE_BUSY)
    {
      /* For simplicity reasons, this example is just waiting till the end of the
         acquisition, but application may perform other tasks while acquisition
         operation is ongoing. */
    }

    /*##-5- Clear flags ######################################################*/
    __HAL_TSC_CLEAR_FLAG(&htsc, (TSC_FLAG_EOA | TSC_FLAG_MCE));

    /*##-6- Check if the acquisition1 is correct (no max count) ###############*/
    if (HAL_TSC_GroupGetStatus(&htsc, TSC_GROUP1_IDX) == TSC_GROUP_COMPLETED)
    {
      /*##-7- Store the acquisition1 value ####################################*/
      uhTSCAcquisitionValue1 = HAL_TSC_GroupGetValue(&htsc, TSC_GROUP1_IDX);
    }
    /*##-6- Check if the acquisition2 is correct (no max count) ###############*/
        if (HAL_TSC_GroupGetStatus(&htsc, TSC_GROUP2_IDX) == TSC_GROUP_COMPLETED)
        {
          /*##-7- Store the acquisition2 value ####################################*/
          uhTSCAcquisitionValue2 = HAL_TSC_GroupGetValue(&htsc, TSC_GROUP2_IDX);
        }
        /*##-6- Check if the acquisition3 is correct (no max count) ###############*/
            if (HAL_TSC_GroupGetStatus(&htsc, TSC_GROUP3_IDX) == TSC_GROUP_COMPLETED)
            {
              /*##-7- Store the acquisition3 value ####################################*/
              uhTSCAcquisitionValue3 = HAL_TSC_GroupGetValue(&htsc, TSC_GROUP3_IDX);
            }
            }
/*
void SetFlags(void){
	if (uhTSCAcquisitionValue3 < 2320) {
	    	not2 = 1;
	    	not1 = 1;}
	    else {
	    	not2 = 0;
	        not1 = 0;};
	    if (uhTSCAcquisitionValue1 < 1845) {
	        	not3 = 1;
	        	not2 = 1;}
	        else {
	        	not3 = 0;
	            not2 = 0;};
	    if (uhTSCAcquisitionValue2 < 2300) {
	           	not3 = 1;
	           	not1 = 1;}
	           else {
	           	not3 = 0;
	            not1 = 0;};
	    if (not1 == 0 && not2 == 1 && not3 == 0) {flag1 = 1;
	    		HAL_GPIO_WritePin(GPIOC, GPIO_PIN_6, GPIO_PIN_SET);}
	    else {HAL_GPIO_WritePin(GPIOC, GPIO_PIN_6, GPIO_PIN_RESET);
	    		flag1 = 0;}
	    if (not1 == 1 && not2 == 0 && not3 == 1) {flag2 = 1;
	        		HAL_GPIO_WritePin(GPIOC, GPIO_PIN_9, GPIO_PIN_SET);}
	        else {HAL_GPIO_WritePin(GPIOC, GPIO_PIN_9, GPIO_PIN_RESET);
	        			flag2 = 0;}
	    if (not1 == 1 && not2 == 1 && not3 == 1) {flag3 = 1;
	            		HAL_GPIO_WritePin(GPIOC, GPIO_PIN_8, GPIO_PIN_SET);}
	            else {HAL_GPIO_WritePin(GPIOC, GPIO_PIN_8, GPIO_PIN_RESET);
	            		flag3 = 0;}
}
*/
void ReadPins(uint8_t pin){
	pindownlastcycle = modechanged;
	if (pin == 0) {
	    if (HAL_GPIO_ReadPin(GPIOC, GPIO_PIN_10) == GPIO_PIN_RESET) {
	    	modeflag = 1;
	    	modechanged = 1;
	    	ClearRGB();
	    	ShowMode(speed);
	    }
	    else {
	    	if (modeflag == 1) {modechanged = 0;}
	    }
	}
	if (pin == 1) {
	    if (HAL_GPIO_ReadPin(GPIOC, GPIO_PIN_11) == GPIO_PIN_RESET) {
	    	modeflag = 2;
	    	modechanged = 1;
	    	ClearRGB();
	    	ShowMode(trigmode);
	    }
	    else {
	    	if (modeflag == 2) {modechanged = 0;}
	    }
	}
	if (pin == 2) {
	    if (HAL_GPIO_ReadPin(GPIOC, GPIO_PIN_12) == GPIO_PIN_RESET) {
	    	modeflag = 3;
	    	modechanged = 1;
	    	ClearRGB();
	    	ShowMode(loop);
	    }
	    else {
	    	if (modeflag == 3) {modechanged = 0;}
	    }
	}
	if (pin == 3) {
	    if (HAL_GPIO_ReadPin(GPIOA, GPIO_PIN_9) == GPIO_PIN_RESET) {
	    	modeflag = 4;
	    	modechanged = 1;
	    	ClearRGB();
	    	ShowMode(samphold);
	    }
	    else {
	    	if (modeflag == 4) {modechanged = 0;}
	    }
	}
}

void ChangeMode(int mode) {
		if (mode == 1) {
			speed = (speed + 1) % 2;
		}
		if (mode == 2) {
			trigmode = (trigmode + 1) % 5;
		}
		if (mode == 3) {
			loop = (loop + 1) % 2;
		}
		if (mode == 4) {
			samphold = (samphold + 1) % 6;
		}
}

void ShowMode(uint8_t currentmode) {
	if (currentmode == 1) {
		HAL_GPIO_WritePin(GPIOC, GPIO_PIN_6, GPIO_PIN_SET);
	}
	if (currentmode == 2) {
		HAL_GPIO_WritePin(GPIOC, GPIO_PIN_6, GPIO_PIN_SET);
		HAL_GPIO_WritePin(GPIOC, GPIO_PIN_8, GPIO_PIN_SET);
	}
	if (currentmode == 3) {
		HAL_GPIO_WritePin(GPIOC, GPIO_PIN_6, GPIO_PIN_SET);
		HAL_GPIO_WritePin(GPIOC, GPIO_PIN_8, GPIO_PIN_SET);
		HAL_GPIO_WritePin(GPIOC, GPIO_PIN_9, GPIO_PIN_SET);

	}
	if (currentmode == 4) {
		HAL_GPIO_WritePin(GPIOC, GPIO_PIN_8, GPIO_PIN_SET);
		HAL_GPIO_WritePin(GPIOC, GPIO_PIN_9, GPIO_PIN_SET);

	}
	if (currentmode == 5) {
		HAL_GPIO_WritePin(GPIOC, GPIO_PIN_9, GPIO_PIN_SET);

	}
	/*
	if (lastattackflag > 0) {
			 __HAL_TIM_SET_COMPARE(&htim3, TIM_CHANNEL_2, out);
			 __HAL_TIM_SET_COMPARE(&htim17, TIM_CHANNEL_1, 0);} //sets the PWM duty cycle (Capture Compare Value)
	if (lastreleaseflag > 0) {
			 __HAL_TIM_SET_COMPARE(&htim17, TIM_CHANNEL_1, out);
			 __HAL_TIM_SET_COMPARE(&htim3, TIM_CHANNEL_2, 0);
		 } //sets the PWM duty cycle (Capture Compare Value)
		 __HAL_TIM_SET_COMPARE(&htim16, TIM_CHANNEL_1, ADCReadings[5]); //sets*/
}

void ClearRGB(void) {
	//HAL_GPIO_WritePin(GPIOC, GPIO_PIN_6, GPIO_PIN_RESET);
	//HAL_GPIO_WritePin(GPIOC, GPIO_PIN_8, GPIO_PIN_RESET);
	//HAL_GPIO_WritePin(GPIOC, GPIO_PIN_9, GPIO_PIN_RESET);
	 __HAL_TIM_SET_COMPARE(&htim3, TIM_CHANNEL_2, 0);
	 __HAL_TIM_SET_COMPARE(&htim16, TIM_CHANNEL_1, 0);
	 __HAL_TIM_SET_COMPARE(&htim17, TIM_CHANNEL_1, 0);
}
void ClearLEDs(void) {
	HAL_GPIO_WritePin(GPIOC, GPIO_PIN_6, GPIO_PIN_RESET);
	HAL_GPIO_WritePin(GPIOC, GPIO_PIN_8, GPIO_PIN_RESET);
	HAL_GPIO_WritePin(GPIOC, GPIO_PIN_9, GPIO_PIN_RESET);
}
/* USER CODE END 4 */

void _Error_Handler(char * file, int line)
{
  while(1)
  {
  }
}

/************************ (C) COPYRIGHT STMicroelectronics *****END OF FILE****/
